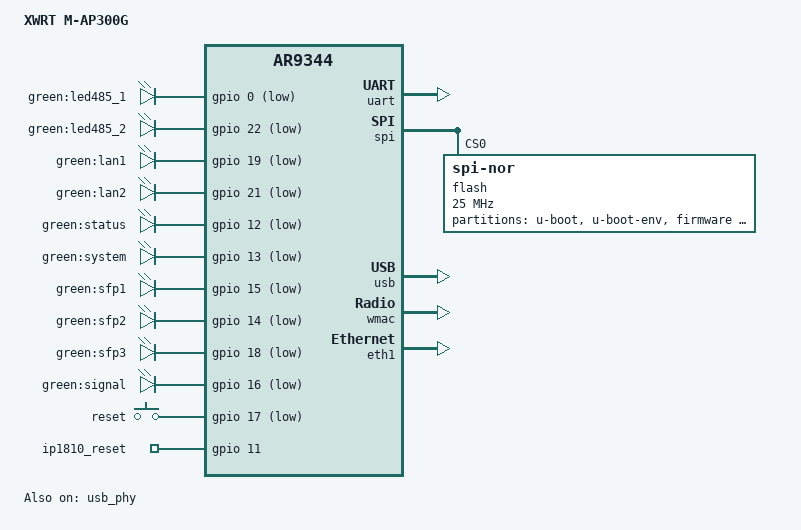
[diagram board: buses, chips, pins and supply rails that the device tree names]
// SPDX-License-Identifier: GPL-2.0-or-later OR MIT
/dts-v1/;

#include <dt-bindings/gpio/gpio.h>
#include <dt-bindings/input/input.h>

#include "ar9344.dtsi"

/ {
	model = "XWRT M-AP300G";
	compatible = "xwrt,m-ap300g", "qca,ar9344";

	chosen {
		bootargs = "console=ttyS0,115200n8";
	};

	aliases {
		led-boot = &system;
		led-failsafe = &system;
		led-running = &system;
		led-upgrade = &system;
	};

	leds {
		compatible = "gpio-leds";

		pinctrl-names = "default";
		pinctrl-0 = <&jtag_disable_pins &enable_gpio15 &enable_gpio19 &enable_gpio11>;

		led485_1 {
			label = "green:led485_1";
			gpios = <&gpio 0 GPIO_ACTIVE_LOW>;
		};

		led485_2 {
			label = "green:led485_2";
			gpios = <&gpio 22 GPIO_ACTIVE_LOW>;
		};

		lan1 {
			label = "green:lan1";
			gpios = <&gpio 19 GPIO_ACTIVE_LOW>;
		};

		lan2 {
			label = "green:lan2";
			gpios = <&gpio 21 GPIO_ACTIVE_LOW>;
		};

		status {
			label = "green:status";
			gpios = <&gpio 12 GPIO_ACTIVE_LOW>;
		};

		system: system {
			label = "green:system";
			gpios = <&gpio 13 GPIO_ACTIVE_LOW>;
			default-state = "on";
		};

		sfp1 {
			label = "green:sfp1";
			gpios = <&gpio 15 GPIO_ACTIVE_LOW>;
		};

		sfp2 {
			label = "green:sfp2";
			gpios = <&gpio 14 GPIO_ACTIVE_LOW>;
		};

		sfp3 {
			label = "green:sfp3";
			gpios = <&gpio 18 GPIO_ACTIVE_LOW>;
		};

		signal {
			label = "green:signal";
			gpios = <&gpio 16 GPIO_ACTIVE_LOW>;
		};
	};

	keys {
		compatible = "gpio-keys";

		reset {
			linux,code = <KEY_RESTART>;
			gpios = <&gpio 17 GPIO_ACTIVE_LOW>;
			debounce-interval = <60>;
		};
	};

	gpio-export {
		compatible = "gpio-export";
		#size-cells = <0>;

		ip1810_reset {
			gpio-export,name = "ip1810_reset";
			gpio-export,output = <1>;
			gpios = <&gpio 11 GPIO_ACTIVE_HIGH>;
		};
	};
};

&gpio {
	status = "okay";
};

&pinmux {
	enable_gpio15: pinmux_enable_gpio15 {
		pinctrl-single,bits = <0xc 0x0 0xff000000>;
	};

	enable_gpio19: pinmux_enable_gpio19 {
		pinctrl-single,bits = <0x10 0x0 0xff000000>;
	};

	enable_gpio11: pinmux_enable_gpio11 {
		pinctrl-single,bits = <0x8 0x0 0xff000000>;
	};
};

&ref {
	clock-frequency = <40000000>;
};

&uart {
	status = "okay";
};

&spi {
	num-cs = <1>;

	status = "okay";

	flash@0 {
		compatible = "jedec,spi-nor";
		reg = <0>;
		spi-max-frequency = <25000000>;

		partitions {
			compatible = "fixed-partitions";
			#address-cells = <1>;
			#size-cells = <1>;

			uboot: partition@0 {
				label = "u-boot";
				reg = <0x000000 0x040000>;
			};

			partition@40000 {
				label = "u-boot-env";
				reg = <0x040000 0x010000>;
			};

			partition@50000 {
				compatible = "denx,uimage";
				label = "firmware";
				reg = <0x050000 0xfa0000>;
			};

			art: partition@ff0000 {
				label = "art";
				reg = <0xff0000 0x010000>;
			};
		};
	};
};

&usb {
	#address-cells = <1>;
	#size-cells = <0>;
	status = "okay";

	port@1 {
		#address-cells = <1>;
		#size-cells = <0>;
		reg = <1>;
		#trigger-source-cells = <0>;

		hub_port1: port@1 {
			reg = <1>;
			#trigger-source-cells = <0>;
		};

		hub_port2: port@2 {
			reg = <2>;
			#trigger-source-cells = <0>;
		};
	};
};

&usb_phy {
	status = "okay";
};

&wmac {
	status = "okay";
	mtd-cal-data = <&art 0x1000>;
	mtd-mac-address = <&art 0x0>;
	nvmem-cells = <&macaddr_art_0>;
	nvmem-cell-names = "mac-address";
	mac-address-increment = <2>;
};

&eth1 {
	status = "okay";
	mtd-mac-address = <&art 0x0>;
	nvmem-cells = <&macaddr_art_0>;
	nvmem-cell-names = "mac-address";

	pll-data = <0x06000000 0x00000101 0x00001313>;

	gmac-config {
		device = <&gmac>;
		switch-phy-swap = <0>;
	};
};

&art {
	compatible = "nvmem-cells";
	#address-cells = <1>;
	#size-cells = <1>;

	macaddr_art_0: macaddr@0 {
		ret = <0x0 0x6>;
	};
};
